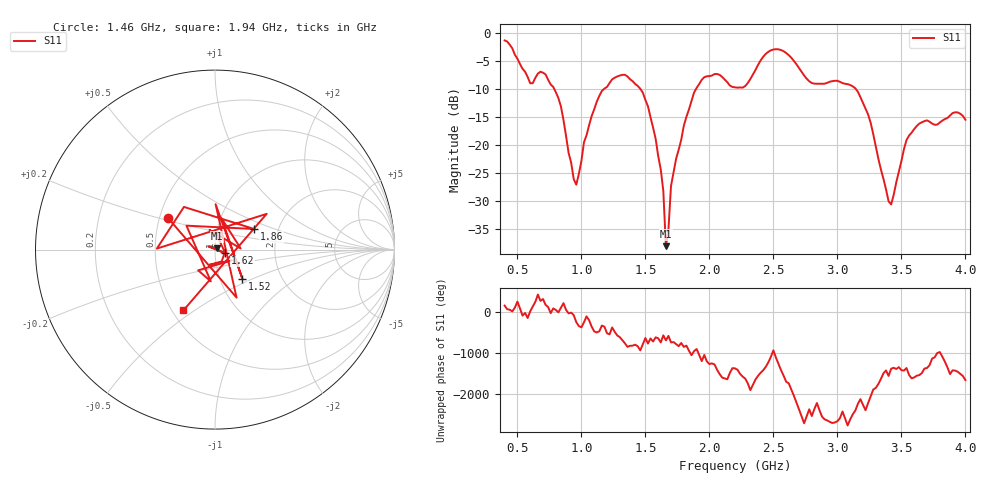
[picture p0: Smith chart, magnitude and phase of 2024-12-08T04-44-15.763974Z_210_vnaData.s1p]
!Created with skrf (http://scikit-rf.org).
# Hz S RI R 50.0
!freq ReS11 ImS11
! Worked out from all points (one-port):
!   181 points, 400 MHz to 4 GHz, reference 50 ohm
!   lowest |S11| = -38.0 dB at 1.66 GHz (marker M1), VSWR 1.03, Z = 51.1 + j0.658 ohm
!   |S11| at or under -10 dB: 788.3 MHz to 1.176 GHz (387.5 MHz wide, 39.5 % of centre); 1.462 GHz to 1.895 GHz (433.2 MHz wide, 25.8 % of centre); 3.144 GHz to end of sweep
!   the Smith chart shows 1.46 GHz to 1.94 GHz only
!   S11 on the Smith chart (normalised r, x): 1.46 GHz: 0.55, +0.22; 1.52 GHz: 1.28, -0.43; 1.62 GHz: 1.12, -0.04; 1.86 GHz: 1.51, +0.37; 1.94 GHz: 0.57, -0.45
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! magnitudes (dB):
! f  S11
! 400 MHz  -1.3
! 600 MHz  -9.0
! 720 MHz  -7.4
! 860 MHz  -15.5
! 960 MHz  -27.0
! 1.02 GHz  -19.5
! 1.12 GHz  -12.3
! 1.3 GHz  -7.6
! 1.46 GHz  -9.9
! 1.52 GHz  -13.1
! 1.62 GHz  -24.3
! 1.64 GHz  -28.2
! 1.66 GHz  -38.0
! 1.68 GHz  -35.0
! 1.7 GHz  -27.3
! 1.76 GHz  -20.8
! 1.86 GHz  -12.2
! 1.94 GHz  -8.4
! 2.2 GHz  -9.7
! 2.48 GHz  -3.1
! 2.66 GHz  -5.0
! 2.8 GHz  -8.9
! 3.1 GHz  -9.3
! 3.24 GHz  -14.5
! 3.42 GHz  -30.6
! 3.56 GHz  -18.3
! 3.92 GHz  -14.1
! 4 GHz  -15.5
